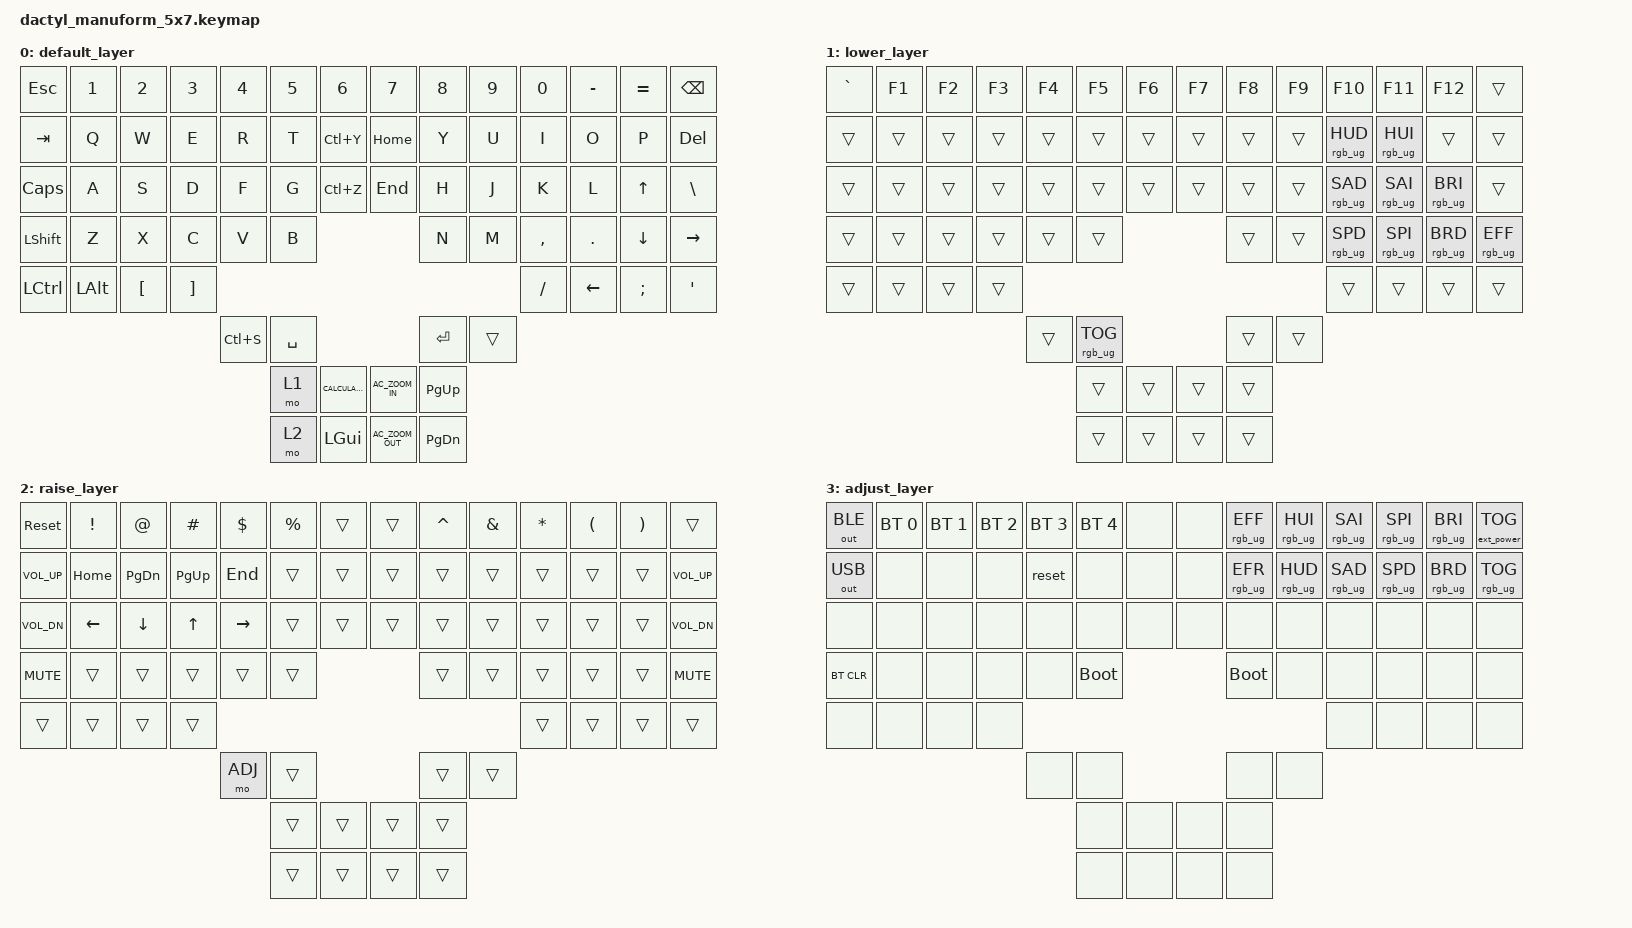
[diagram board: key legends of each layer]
#include <behaviors.dtsi>
#include <dt-bindings/zmk/bt.h>
#include <dt-bindings/zmk/ext_power.h>
#include <dt-bindings/zmk/keys.h>
#include <dt-bindings/zmk/outputs.h>
#include <dt-bindings/zmk/rgb.h>

#define DEFAULT 0
#define LWR 1
#define RSE 2
#define ADJ 3

/ {
    keymap {
        compatible = "zmk,keymap";

        default_layer {
            bindings = <
&kp ESC         &kp N1        &kp N2    &kp N3    &kp N4     &kp N5     &kp N6            &kp N7             &kp N8         &kp N9  &kp N0     &kp MINUS  &kp EQUAL  &kp BSPC
&kp TAB         &kp Q         &kp W     &kp E     &kp R      &kp T      &kp LC(Y)         &kp HOME           &kp Y          &kp U   &kp I      &kp O      &kp P      &kp DELETE
&kp CLCK        &kp A         &kp S     &kp D     &kp F      &kp G      &kp LC(Z)         &kp END            &kp H          &kp J   &kp K      &kp L      &kp UP     &kp BSLH
&kp LEFT_SHIFT  &kp Z         &kp X     &kp C     &kp V      &kp B                                           &kp N          &kp M   &kp COMMA  &kp DOT    &kp DOWN   &kp RIGHT
&kp LCTRL       &kp LEFT_ALT  &kp LBKT  &kp RBKT                                                                                    &kp FSLH   &kp LEFT   &kp SEMI   &kp SQT
                                                  &kp LC(S)  &kp SPACE                                       &kp RET        &trans
                                                             &mo 1      &kp K_CALCULATOR  &kp C_AC_ZOOM_IN   &kp PG_UP
                                                             &mo 2      &kp LEFT_GUI      &kp C_AC_ZOOM_OUT  &kp PAGE_DOWN
            >;
        };

        lower_layer {
            bindings = <
&kp GRAVE  &kp F1  &kp F2  &kp F3  &kp F4  &kp F5           &kp F6  &kp F7  &kp F8  &kp F9  &kp F10          &kp F11          &kp F12          &trans
&trans     &trans  &trans  &trans  &trans  &trans           &trans  &trans  &trans  &trans  &rgb_ug RGB_HUD  &rgb_ug RGB_HUI  &trans           &trans
&trans     &trans  &trans  &trans  &trans  &trans           &trans  &trans  &trans  &trans  &rgb_ug RGB_SAD  &rgb_ug RGB_SAI  &rgb_ug RGB_BRI  &trans
&trans     &trans  &trans  &trans  &trans  &trans                           &trans  &trans  &rgb_ug RGB_SPD  &rgb_ug RGB_SPI  &rgb_ug RGB_BRD  &rgb_ug RGB_EFF
&trans     &trans  &trans  &trans                                                           &trans           &trans           &trans           &trans
                                   &trans  &rgb_ug RGB_TOG                  &trans  &trans
                                           &trans           &trans  &trans  &trans
                                           &trans           &trans  &trans  &trans
            >;
        };

        raise_layer {
            bindings = <
&sys_reset    &kp EXCL  &kp AT     &kp HASH   &kp DLLR   &kp PRCNT  &trans  &trans  &kp CARET  &kp AMPS  &kp ASTRK  &kp LPAR  &kp RPAR  &trans
&kp K_VOL_UP  &kp HOME  &kp PG_DN  &kp PG_UP  &kp END    &trans     &trans  &trans  &trans     &trans    &trans     &trans    &trans    &kp K_VOL_UP
&kp K_VOL_DN  &kp LEFT  &kp DOWN   &kp UP     &kp RIGHT  &trans     &trans  &trans  &trans     &trans    &trans     &trans    &trans    &kp K_VOL_DN
&kp K_MUTE    &trans    &trans     &trans     &trans     &trans                     &trans     &trans    &trans     &trans    &trans    &kp K_MUTE
&trans        &trans    &trans     &trans                                                                &trans     &trans    &trans    &trans
                                              &mo ADJ    &trans                     &trans     &trans
                                                         &trans     &trans  &trans  &trans
                                                         &trans     &trans  &trans  &trans
            >;
        };

        adjust_layer {
            bindings = <
&out OUT_BLE  &bt BT_SEL 0  &bt BT_SEL 1  &bt BT_SEL 2  &bt BT_SEL 3  &bt BT_SEL 4  &none  &none  &rgb_ug RGB_EFF  &rgb_ug RGB_HUI  &rgb_ug RGB_SAI  &rgb_ug RGB_SPI  &rgb_ug RGB_BRI  &ext_power EP_TOG
&out OUT_USB  &none         &none         &none         &reset        &none         &none  &none  &rgb_ug RGB_EFR  &rgb_ug RGB_HUD  &rgb_ug RGB_SAD  &rgb_ug RGB_SPD  &rgb_ug RGB_BRD  &rgb_ug RGB_TOG
&none         &none         &none         &none         &none         &none         &none  &none  &none            &none            &none            &none            &none            &none
&bt BT_CLR    &none         &none         &none         &none         &bootloader                 &bootloader      &none            &none            &none            &none            &none
&none         &none         &none         &none                                                                                     &none            &none            &none            &none
                                                        &none         &none                       &none            &none
                                                                      &none         &none  &none  &none
                                                                      &none         &none  &none  &none
            >;
        };
    };
};
